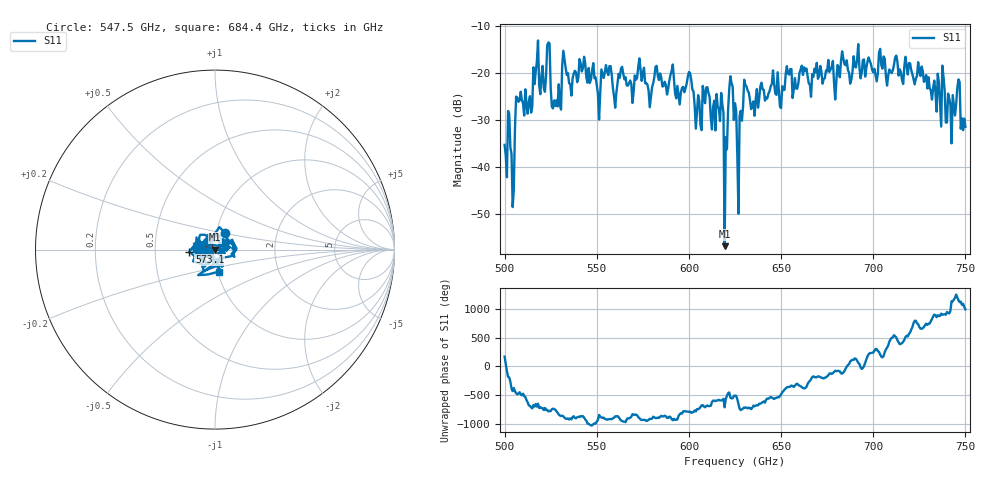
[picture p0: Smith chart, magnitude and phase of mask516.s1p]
!Created with skrf (http://scikit-rf.org).
# GHz S MA R 50.0
!freq magS11 angS11
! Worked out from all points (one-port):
!   401 points, 500 GHz to 750 GHz, reference 50 ohm
!   lowest |S11| = -56.8 dB at 619.4 GHz (marker M1), VSWR 1.00, Z = 50.1 + j0.0297 ohm
!   |S11| at or under -10 dB: start of sweep to end of sweep
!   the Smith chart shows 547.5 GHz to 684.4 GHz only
!   S11 on the Smith chart (normalised r, x): 547.5 GHz: 1.10, +0.20; 573.1 GHz: 0.75, -0.02; 684.4 GHz: 1.01, -0.25
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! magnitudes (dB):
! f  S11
! 500 GHz  -35.3
! 504.4 GHz  -48.5
! 507.5 GHz  -26.1
! 513.8 GHz  -24.9
! 516.9 GHz  -19.7
! 520.6 GHz  -18.5
! 523.8 GHz  -13.5
! 526.9 GHz  -25.8
! 531.2 GHz  -18.3
! 547.5 GHz  -19.4
! 562.5 GHz  -21.0
! 573.1 GHz  -16.9
! 593.8 GHz  -22.7
! 600 GHz  -19.8
! 605 GHz  -24.7
! 616.2 GHz  -27.4
! 619.4 GHz  -56.8
! 622.5 GHz  -20.7
! 625 GHz  -26.4
! 627.5 GHz  -29.1
! 631.2 GHz  -22.8
! 656.2 GHz  -25.3
! 684.4 GHz  -18.1
! 687.5 GHz  -22.3
! 718.8 GHz  -20.3
! 741.2 GHz  -25.4
! 745.6 GHz  -23.1
! 750 GHz  -31.4
